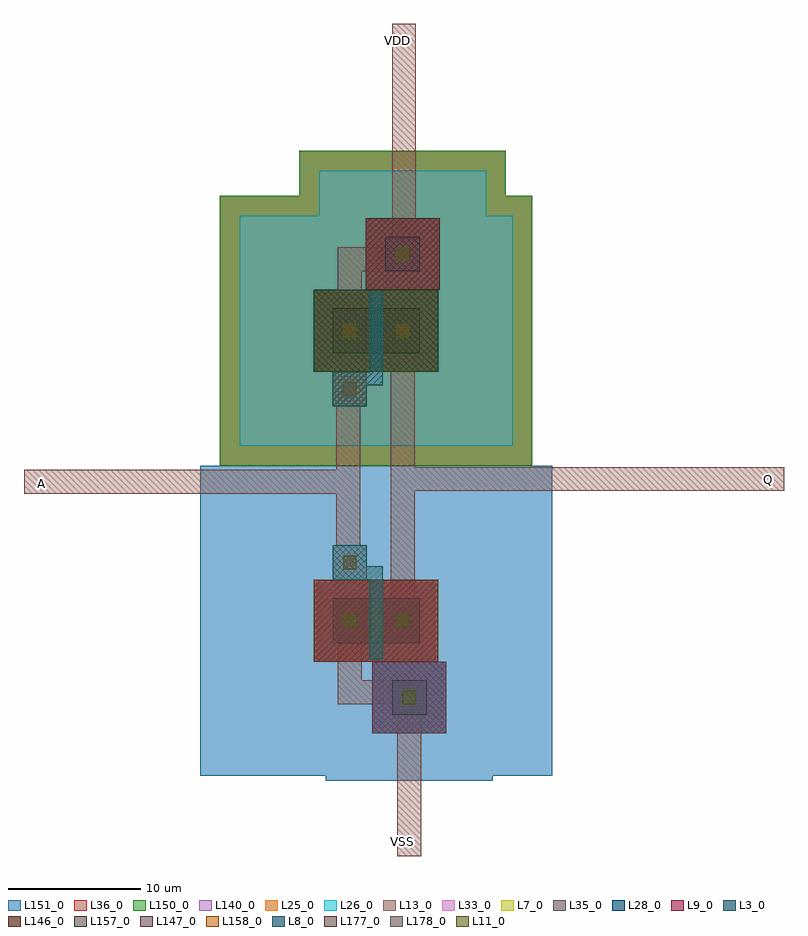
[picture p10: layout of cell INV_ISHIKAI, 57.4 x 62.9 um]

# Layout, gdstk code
import gdstk
lib = gdstk.Library(unit=1e-6, precision=1e-09)
def R(c, l, rs):  # rectangles x0, y0, x1, y1
    for r in rs: c.add(gdstk.rectangle(r[:2], r[2:], *l))
L3_0 = (3, 0)
L7_0 = (7, 0)
L8_0 = (8, 0)
L9_0 = (9, 0)
L11_0 = (11, 0)
L13_0 = (13, 0)
L25_0 = (25, 0)
L26_0 = (26, 0)
L28_0 = (28, 0)
L33_0 = (33, 0)
L35_0 = (35, 0)
L36_0 = (36, 0)
L140_0 = (140, 0)
L146_0 = (146, 0)
L147_0 = (147, 0)
L150_0 = (150, 0)
L151_0 = (151, 0)
L157_0 = (157, 0)
L158_0 = (158, 0)
L177_0 = (177, 0)
L178_0 = (178, 0)

dcont_6_1 = lib.new_cell('dcont$6$1')
R(dcont_6_1, L3_0, [(-1.3,-1.3,1.3,1.3)])
R(dcont_6_1, L11_0, [(-0.5,-0.5,0.5,0.5)])
R(dcont_6_1, L13_0, [(-1.3,-1.3,1.3,1.3), (-0.5,-0.5,0.5,0.5)])

pcont_6_1 = lib.new_cell('pcont$6$1')
R(pcont_6_1, L8_0, [(-1.3,-1.3,1.3,1.3)])
R(pcont_6_1, L11_0, [(-0.5,-0.5,0.5,0.5)])
R(pcont_6_1, L13_0, [(-1.3,-1.3,1.3,1.3), (-0.5,-0.5,0.5,0.5)])

c_dcont_6_1 = lib.new_cell('DCONT$6$1')
R(c_dcont_6_1, L3_0, [(-1.3,-1.3,1.3,1.3)])
R(c_dcont_6_1, L11_0, [(-0.5,-0.5,0.5,0.5)])
R(c_dcont_6_1, L13_0, [(-1.3,-1.3,1.3,1.3), (-0.5,-0.5,0.5,0.5)])

nsubcont_6_1 = lib.new_cell('nsubcont$6$1')
R(nsubcont_6_1, L7_0, [(-2.8,-2.7,2.8,2.7)])
R(nsubcont_6_1, L9_0, [(-2.8,-2.7,2.8,2.7)])
R(nsubcont_6_1, L25_0, [(-6.3,-6.3,6.3,6.3)])
R(nsubcont_6_1, L26_0, [(-6.3,-6.3,6.3,6.3)])
R(nsubcont_6_1, L33_0, [(-2.8,-2.7,2.8,2.7)])
R(nsubcont_6_1, L35_0, [(-2.8,-2.7,2.8,2.7)])
R(nsubcont_6_1, L36_0, [(-7.8,-7.8,7.8,7.8)])
R(nsubcont_6_1, L140_0, [(-6.3,-6.3,6.3,6.3)])
R(nsubcont_6_1, L150_0, [(-7.8,-7.8,7.8,7.8)])
R(nsubcont_6_1, L177_0, [(-2.8,-2.7,2.8,2.7)])
nsubcont_6_1.add(gdstk.Reference(c_dcont_6_1, (0,0)))

mp_1_3 = lib.new_cell('MP$1$3')
R(mp_1_3, L3_0, [(0,3.6,6.6,7)])
R(mp_1_3, L7_0, [(-1.4,2.2,8,8.4)])
R(mp_1_3, L25_0, [(-7,-3.4,13.6,14)])
R(mp_1_3, L26_0, [(-7,-3.4,13.6,14)])
R(mp_1_3, L28_0, [(-1.4,2.2,8,8.4)])
R(mp_1_3, L33_0, [(-1.4,2.2,8,8.4)])
R(mp_1_3, L36_0, [(-8.5,-4.9,15.1,15.5)])
R(mp_1_3, L140_0, [(-7,-3.4,13.6,14)])
R(mp_1_3, L146_0, [(-1.4,2.2,8,8.4)])
R(mp_1_3, L150_0, [(-8.5,-4.9,15.1,15.5)])
R(mp_1_3, L157_0, [(-1.4,2.2,8,8.4)])
mp_1_3.add(gdstk.FlexPath([(1.3,3.6),(1.3,7)], 2.6, ends="flush", simple_path=True, layer=13, datatype=0))  # L13_0
mp_1_3.add(gdstk.FlexPath([(5.3,3.6),(5.3,7)], 2.6, ends="flush", simple_path=True, layer=13, datatype=0))  # L13_0
mp_1_3.add(gdstk.FlexPath([(1.3,6),(1.3,9.3)], 1.8, ends="flush", simple_path=True, layer=13, datatype=0))  # L13_0
mp_1_3.add(gdstk.FlexPath([(5.3,1.3),(5.3,4.6)], 1.8, ends="flush", simple_path=True, layer=13, datatype=0))  # L13_0
mp_1_3.add(gdstk.FlexPath([(3.3,3.6),(3.3,7)], 1, ends=(1.2, 1.2), simple_path=True, layer=8, datatype=0))  # L8_0
mp_1_3.add(gdstk.FlexPath([(1.3,1.7),(3.3,1.7),(3.3,2.4)], 1, ends="flush", simple_path=True, layer=8, datatype=0))  # L8_0
mp_1_3.add(gdstk.Reference(dcont_6_1, (1.3,5.3)))
mp_1_3.add(gdstk.Reference(dcont_6_1, (5.3,5.3)))
mp_1_3.add(gdstk.Reference(pcont_6_1, (1.3,0.9)))
mp_1_3.add(gdstk.Reference(nsubcont_6_1, (5.3,11.1)))

psubcont_6_1 = lib.new_cell('psubcont$6$1')
R(psubcont_6_1, L7_0, [(-2.8,-2.7,2.8,2.7)])
R(psubcont_6_1, L28_0, [(-2.8,-2.7,2.8,2.7)])
R(psubcont_6_1, L33_0, [(-2.8,-2.7,2.8,2.7)])
R(psubcont_6_1, L35_0, [(-2.8,-2.7,2.8,2.7)])
R(psubcont_6_1, L151_0, [(-6.3,-6.3,6.3,6.3)])
R(psubcont_6_1, L178_0, [(-2.8,-2.7,2.8,2.7)])
psubcont_6_1.add(gdstk.Reference(c_dcont_6_1, (0,0)))

mn_1_5 = lib.new_cell('MN$1$5')
R(mn_1_5, L3_0, [(0,3.6,6.6,7)])
R(mn_1_5, L9_0, [(-1.4,2.2,8,8.4)])
R(mn_1_5, L33_0, [(-1.4,2.2,8,8.4)])
R(mn_1_5, L35_0, [(-1.4,2.2,8,8.4)])
R(mn_1_5, L147_0, [(-1.4,2.2,8,8.4)])
R(mn_1_5, L151_0, [(-10,-6.4,16.6,17)])
R(mn_1_5, L158_0, [(-1.4,2.2,8,8.4)])
mn_1_5.add(gdstk.FlexPath([(1.3,3.6),(1.3,7)], 2.6, ends="flush", simple_path=True, layer=13, datatype=0))  # L13_0
mn_1_5.add(gdstk.FlexPath([(5.3,3.6),(5.3,7)], 2.6, ends="flush", simple_path=True, layer=13, datatype=0))  # L13_0
mn_1_5.add(gdstk.FlexPath([(1.3,1.3),(1.3,4.6)], 1.8, ends="flush", simple_path=True, layer=13, datatype=0))  # L13_0
mn_1_5.add(gdstk.FlexPath([(5.3,6),(5.3,9.3)], 1.8, ends="flush", simple_path=True, layer=13, datatype=0))  # L13_0
mn_1_5.add(gdstk.FlexPath([(3.3,3.6),(3.3,7)], 1, ends=(1.2, 1.2), simple_path=True, layer=8, datatype=0))  # L8_0
mn_1_5.add(gdstk.FlexPath([(1.3,8.9),(3.3,8.9),(3.3,8.2)], 1, ends="flush", simple_path=True, layer=8, datatype=0))  # L8_0
mn_1_5.add(gdstk.Reference(dcont_6_1, (1.3,5.3)))
mn_1_5.add(gdstk.Reference(dcont_6_1, (5.3,5.3)))
mn_1_5.add(gdstk.Reference(pcont_6_1, (1.3,9.7)))
mn_1_5.add(gdstk.Reference(psubcont_6_1, (5.8,-0.5)))

inv_ishikai = lib.new_cell('INV_ISHIKAI')
inv_ishikai.add(gdstk.FlexPath([(5.3,-5.5),(34.1,-5.5)], 1.8, ends="flush", simple_path=True, layer=13, datatype=0))  # L13_0
inv_ishikai.add(gdstk.FlexPath([(1.2,1.3),(1.2,-12.2)], 1.8, ends="flush", simple_path=True, layer=13, datatype=0))  # L13_0
inv_ishikai.add(gdstk.FlexPath([(5.3,2.1),(5.3,-12.8)], 1.8, ends="flush", simple_path=True, layer=13, datatype=0))  # L13_0
inv_ishikai.add(gdstk.FlexPath([(1.3,9.4),(1.3,11.1),(6.2,11.1)], 1.8, ends="flush", simple_path=True, layer=13, datatype=0))  # L13_0
inv_ishikai.add(gdstk.FlexPath([(5.4,11.1),(5.4,28.9)], 1.8, ends="flush", simple_path=True, layer=13, datatype=0))  # L13_0
inv_ishikai.add(gdstk.FlexPath([(1.2,-5.7),(-23.3,-5.7)], 1.8, ends="flush", simple_path=True, layer=13, datatype=0))  # L13_0
inv_ishikai.add(gdstk.FlexPath([(1.3,-19.9),(1.3,-21.6),(5.8,-21.6)], 1.8, ends="flush", simple_path=True, layer=13, datatype=0))  # L13_0
inv_ishikai.add(gdstk.FlexPath([(5.8,-21.7),(5.8,-34)], 1.8, ends="flush", simple_path=True, layer=13, datatype=0))  # L13_0
inv_ishikai.add(gdstk.Reference(mp_1_3, (0,0.4)))
inv_ishikai.add(gdstk.Reference(mn_1_5, (0,-21.5)))
inv_ishikai.add(gdstk.Label('Q', (32.9,-5.5), layer=13, texttype=0))
inv_ishikai.add(gdstk.Label('A', (-22,-5.8), layer=13, texttype=0))
inv_ishikai.add(gdstk.Label('VDD', (4.9,27.6), layer=13, texttype=0))
inv_ishikai.add(gdstk.Label('VSS', (5.3,-32.9), layer=13, texttype=0))

lib.write_gds('INV_ISHIKAI.gds')
